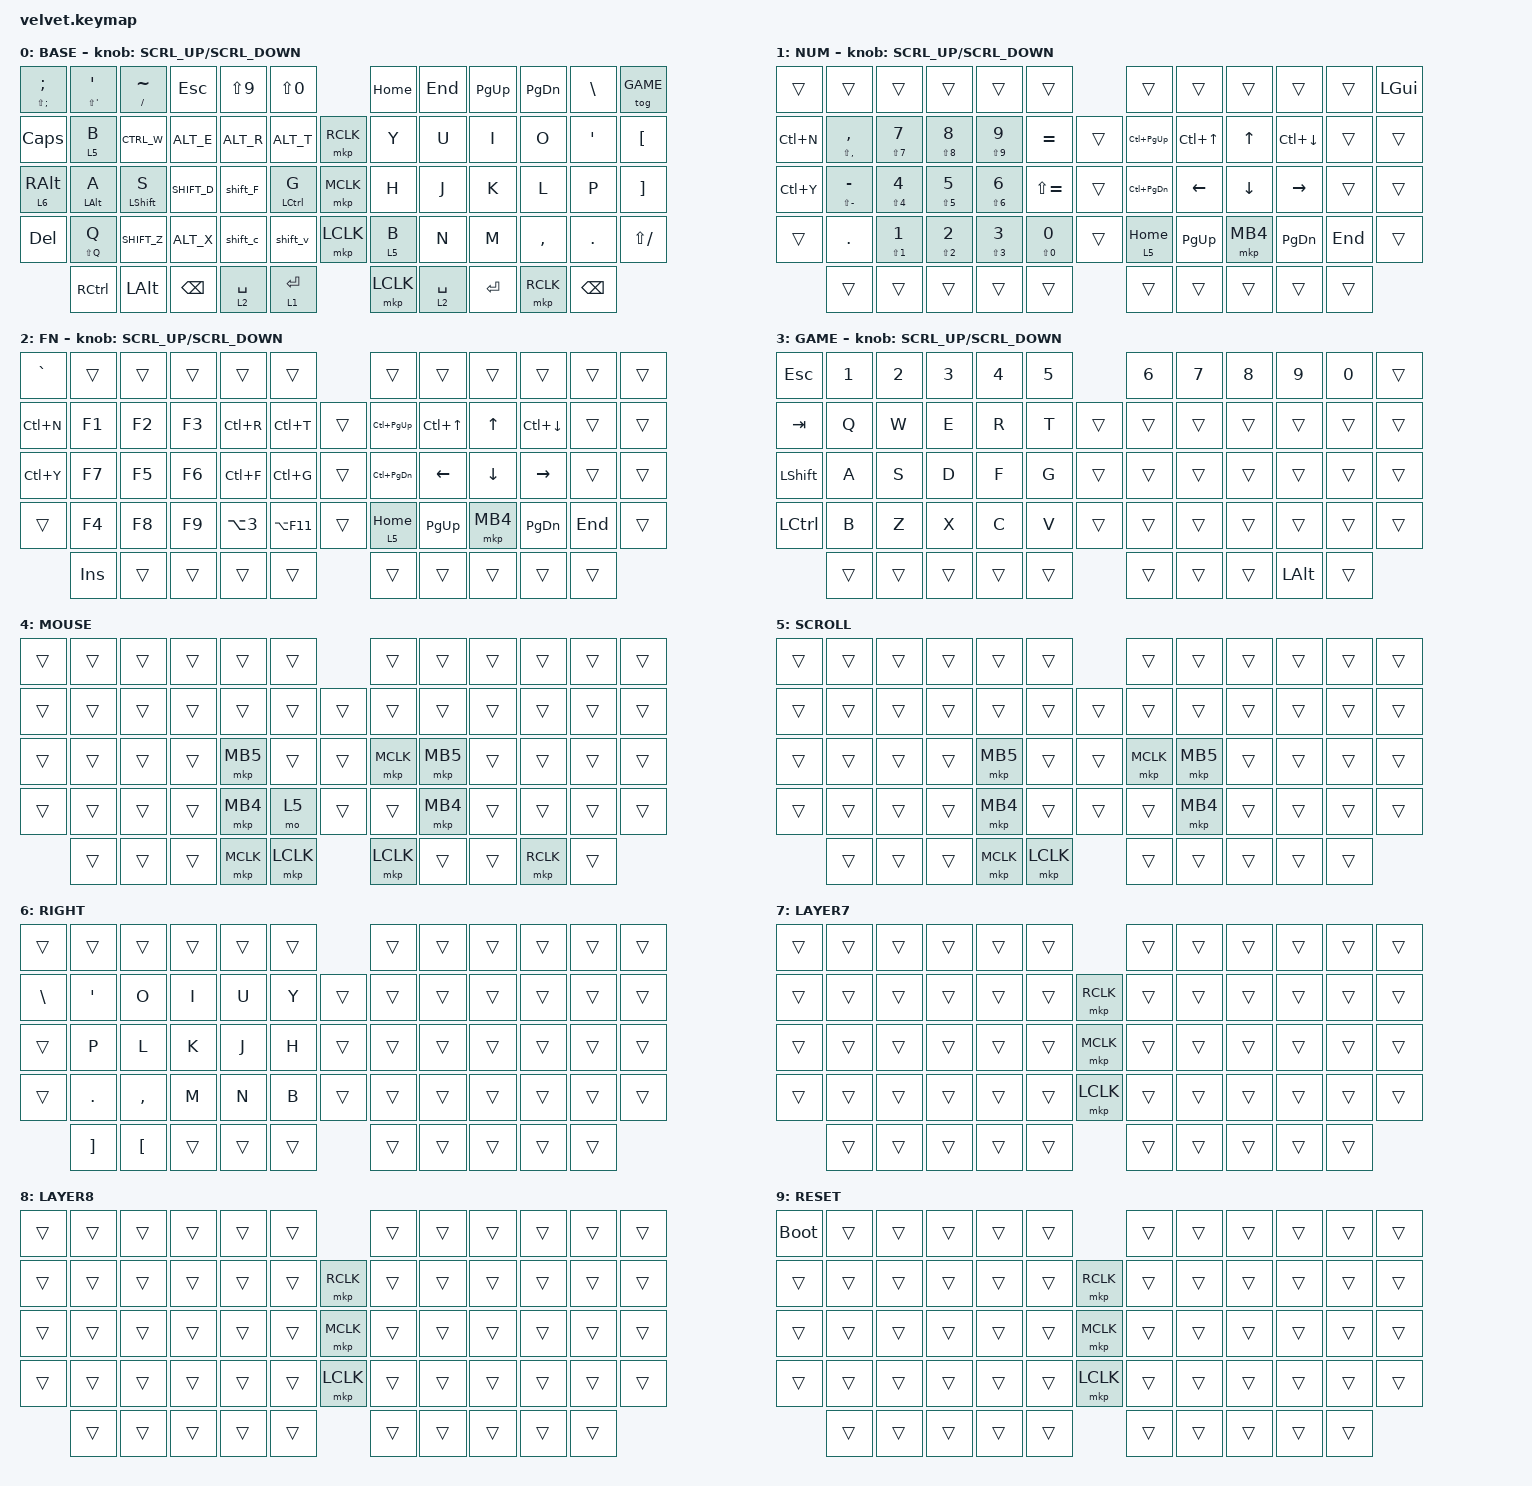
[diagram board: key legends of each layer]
/*
 * Elash Velvet keymap adapted from Sofle PLUS2 LAST_1002.vil
 * Source mapping: 6 keys per half in the four main rows; source encoder directions ignored.
 * The three central trackball click keys retain Velvet's default right/middle/left-click behavior.
 *
 * Known Vial-only features that need separate reimplementation are documented in KEYMAP_MIGRATION_NOTES.md.
 */

#define BASE 0
#define NUM 1
#define FN 2
#define GAME 3
#define MOUSE 4
#define SCROLL 5
#define RIT 6
#define ZMK_POINTING_DEFAULT_MOVE_VAL 1200
#define ZMK_POINTING_DEFAULT_SCRL_VAL 35

#include <input/processors.dtsi>
#include <zephyr/dt-bindings/input/input-event-codes.h>
#include <behaviors.dtsi>
#include <dt-bindings/zmk/keys.h>
#include <dt-bindings/zmk/pointing.h>

/ {
    zip_scroll_scaler: zip_scroll_scaler {
        compatible = "zmk,input-processor-scaler";
        #input-processor-cells = <2>;
        type = <INPUT_EV_REL>;
        codes = <INPUT_REL_WHEEL INPUT_REL_HWHEEL>;
        track-remainders;
    };
};

&mmv_input_listener { input-processors = <&zip_xy_scaler 2 1>; };

&msc_input_listener { input-processors = <&zip_scroll_scaler 2 1>; };

&msc {
    acceleration-exponent = <0>;
    time-to-max-speed-ms = <0>;
    delay-ms = <0>;
};

&mmv {
    time-to-max-speed-ms = <400>;
    acceleration-exponent = <1>;
};

&mt {
    tapping-term-ms = <180>;
    flavor = "tap-preferred";
};

&sk {
    release-after-ms = <2000>;
    quick-release;
};

/ {
    behaviors {
        td_q: td_q {
            compatible = "zmk,behavior-tap-dance";
            label = "TD_Q";
            #binding-cells = <0>;
            tapping-term-ms = <250>;
            bindings = <&kp Q>, <&kp LS(Q)>;
        };

        td_t_mouse: td_t_mouse {
            compatible = "zmk,behavior-tap-dance";
            label = "TD_T_MOUSE";
            #binding-cells = <0>;
            tapping-term-ms = <200>;
            bindings = <&kp T>, <&mkp MCLK>;
        };

        td_semi: td_semi {
            compatible = "zmk,behavior-tap-dance";
            label = "TD_SEMI";
            #binding-cells = <0>;
            tapping-term-ms = <200>;
            bindings = <&kp SEMI>, <&kp LS(SEMI)>;
        };

        aholdtap: aholdtap {
            compatible = "zmk,behavior-hold-tap";
            label = "AHOLDTAP";
            #binding-cells = <2>;
            bindings = <&kp>, <&kp>;

            tapping-term-ms = <230>;
            quick-tap-ms = <180>;
            require-prior-idle-ms = <120>;
            flavor = "tap-preferred";
        };

        holdtap: holdtap {
            compatible = "zmk,behavior-hold-tap";
            label = "HOLDTAP";
            bindings = <&kp>, <&kp>;

            #binding-cells = <2>;
            tapping-term-ms = <170>;
            quick-tap-ms = <150>;
        };

        shift_c: shift_c {
            compatible = "zmk,behavior-mod-morph";
            label = "SHIFT_C";
            bindings = <&kp C>, <&kp LC(LS(C))>;

            #binding-cells = <0>;
            mods = <(MOD_LSFT)>;
        };

        shift_v: shift_v {
            compatible = "zmk,behavior-mod-morph";
            label = "SHIFT_V";
            bindings = <&kp V>, <&kp LS(LC(V))>;

            #binding-cells = <0>;
            mods = <(MOD_LSFT)>;
        };

        shift_F: shift_F {
            compatible = "zmk,behavior-mod-morph";
            label = "SHIFT_F";
            bindings = <&kp F>, <&kp LS(LC(F))>;

            #binding-cells = <0>;
            mods = <(MOD_LSFT)>;
        };

        ALT_E: ALT_E {
            compatible = "zmk,behavior-mod-morph";
            label = "ALT_E";
            bindings = <&kp E>, <&kp LA(LC(END))>;

            #binding-cells = <0>;
            mods = <(MOD_LALT)>;
        };

        ALT_R: ALT_R {
            compatible = "zmk,behavior-mod-morph";
            label = "ALT_R";
            bindings = <&kp R>, <&kp LS(LA(G))>;

            #binding-cells = <0>;
            mods = <(MOD_LALT)>;
        };

        ALT_T: ALT_T {
            compatible = "zmk,behavior-mod-morph";
            label = "ALT_T";
            bindings = <&kp T>, <&kp LC(LS(F10))>;

            #binding-cells = <0>;
            mods = <(MOD_LALT)>;
        };

        SHIFT_D: SHIFT_D {
            compatible = "zmk,behavior-mod-morph";
            label = "SHIFT_D";
            bindings = <&kp D>, <&kp LC(LS(A))>;

            #binding-cells = <0>;
            mods = <(MOD_LSFT)>;
        };

        CTRL_W: CTRL_W {
            compatible = "zmk,behavior-mod-morph";
            label = "CTRL_W";
            bindings = <&kp W>, <&kp LS(LC(S))>;

            #binding-cells = <0>;
            mods = <(MOD_LCTL)>;
        };

        SHIFT_Z: SHIFT_Z {
            compatible = "zmk,behavior-mod-morph";
            label = "SHIFT_Z";
            bindings = <&kp Z>, <&kp LS(LC(F10))>;

            #binding-cells = <0>;
            mods = <(MOD_LSFT)>;
        };

        ALT_X: ALT_X {
            compatible = "zmk,behavior-mod-morph";
            label = "ALT_X";
            bindings = <&kp X>, <&kp LS(LA(LC(N)))>;

            #binding-cells = <0>;
            mods = <(MOD_LALT)>;
        };
        
        rot_msc: sensor_rotate_msc {
            compatible = "zmk,behavior-sensor-rotate-var";
            #sensor-binding-cells = <2>;
            bindings = <&msc>, <&msc>;
            tap-ms = <40>;
        };
    };
    combos {
        compatible = "zmk,combos";

        combo_ctrl_x_sd {
            bindings = <&kp LC(X)>;
            key-positions = <27 28>;
            // layers = <BASE>;
            timeout-ms = <90>;
        };

        combo_ctrl_c_df {
            bindings = <&kp LC(C)>;
            key-positions = <28 29>;
            // layers = <BASE>;
            timeout-ms = <90>;
        };

        combo_ctrl_v_fg {
            bindings = <&kp LC(V)>;
            key-positions = <29 30>;
            // layers = <BASE>;
            timeout-ms = <90>;
        };

        combo_ctrl_z_sf {
            bindings = <&kp LC(Z)>;
            key-positions = <27 29>;
            // layers = <BASE>;
            timeout-ms = <90>;
        };

        combo_esc_tr {
            bindings = <&kp ESC>;
            key-positions = <16 17>;
            // layers = <BASE>;
            timeout-ms = <90>;
        };

        combo_tab_re {
            bindings = <&kp TAB>;
            key-positions = <15 16>;
            // layers = <BASE>;
            timeout-ms = <90>;
        };

        combo_shift_w_we {
            bindings = <&kp LS(W)>;
            key-positions = <14 15>;
            // layers = <BASE>;
            timeout-ms = <90>;
        };

        combo_shift_q_qs {
            bindings = <&kp LS(Q)>;
            key-positions = <27 39>;
            // layers = <BASE>;
            timeout-ms = <90>;
        };

        combo_bspc_xc {
            bindings = <&kp BSPC>;
            key-positions = <41 42>;
            // layers = <BASE>;
            timeout-ms = <90>;
        };
    };

    keymap {
        compatible = "zmk,keymap";

        BASE {
            label = "BASE";
            bindings = <
&aholdtap LS(SEMI) SEMI  &aholdtap LS(APOS) APOS  &holdtap FSLH TILDE  &kp ESC   &kp LS(N9)   &kp LS(N0)              &kp HOME   &kp END      &kp PAGE_UP  &kp PAGE_DOWN  &kp BSLH  &tog GAME
&kp CAPS                  &lt 5 B                 &CTRL_W              &ALT_E    &ALT_R       &ALT_T       &mkp RCLK  &kp Y      &kp U        &kp I        &kp O          &kp SQT   &kp LBKT
&lt 6 RIGHT_ALT          &aholdtap LEFT_ALT A     &mt LSHFT S          &SHIFT_D  &shift_F     &mt LCTRL G  &mkp MCLK  &kp H      &kp J        &kp K        &kp L          &kp P     &kp RBKT
&kp DEL                  &aholdtap LS(Q) Q        &SHIFT_Z             &ALT_X    &shift_c     &shift_v     &mkp LCLK  &lt 5 B    &kp N        &kp M        &kp COMMA      &kp DOT   &kp LS(FSLH)
                         &kp RCTRL                &kp LALT             &kp BSPC  &lt 2 SPACE  &lt 1 ENTER             &mkp LCLK  &lt 2 SPACE  &kp ENTER    &mkp RCLK      &kp BSPC
            >;
/* Rotary encoder: clockwise = scroll up, counter-clockwise = scroll down. */
            sensor-bindings = <&rot_msc SCRL_UP SCRL_DOWN>;
        };

        NUM {
            label = "NUM";
            bindings = <
&trans     &trans     &trans                     &trans                     &trans                     &trans                             &trans             &trans            &trans          &trans              &trans   &kp LGUI
&kp LC(N)  &aholdtap LS(COMMA) COMMA  &aholdtap LS(N7) N7        &aholdtap LS(N8) N8        &aholdtap LS(N9) N9        &kp EQUAL                  &trans  &kp LC(PAGE_UP)    &kp LC(UP_ARROW)  &kp UP_ARROW    &kp LC(DOWN_ARROW)  &trans   &trans
&kp LC(Y)  &aholdtap LS(MINUS) MINUS  &aholdtap LS(N4) NUMBER_4  &aholdtap LS(N5) N5        &aholdtap LS(N6) NUMBER_6  &kp LS(EQUAL)              &trans  &kp LC(PAGE_DOWN)  &kp LEFT_ARROW    &kp DOWN_ARROW  &kp RIGHT_ARROW     &trans   &trans
&trans     &kp DOT    &aholdtap LS(N1) NUMBER_1  &aholdtap LS(N2) NUMBER_2  &aholdtap LS(N3) NUMBER_3  &aholdtap LS(N0) NUMBER_0  &trans  &lt 5 HOME         &kp PAGE_UP       &mkp MB4        &kp PAGE_DOWN       &kp END  &trans
           &trans     &trans                     &trans                     &trans                     &trans                             &trans             &trans            &trans          &trans              &trans
            >;

            sensor-bindings = <&rot_msc SCRL_UP SCRL_DOWN>;
        };

        FN {
            label = "FN";
            bindings = <
&kp GRAVE  &trans      &trans  &trans  &trans      &trans               &trans             &trans       &trans    &trans         &trans   &trans
&kp LC(N)  &kp F1      &kp F2  &kp F3  &kp LC(R)   &kp LC(T)    &trans  &kp LC(PAGE_UP)    &kp LC(UP)   &kp UP    &kp LC(DOWN)   &trans   &trans
&kp LC(Y)  &kp F7      &kp F5  &kp F6  &kp LC(F)   &kp LC(G)    &trans  &kp LC(PAGE_DOWN)  &kp LEFT     &kp DOWN  &kp RIGHT      &trans   &trans
&trans     &kp F4      &kp F8  &kp F9  &kp LA(N3)  &kp LA(F11)  &trans  &lt 5 HOME         &kp PAGE_UP  &mkp MB4  &kp PAGE_DOWN  &kp END  &trans
           &kp INSERT  &trans  &trans  &trans      &trans               &trans             &trans       &trans    &trans         &trans
            >;

            sensor-bindings = <&rot_msc SCRL_UP SCRL_DOWN>;
        };

        GAME {
            label = "GAME";
            bindings = <
&kp ESC    &kp N1  &kp N2  &kp N3  &kp N4  &kp N5          &kp N6  &kp N7  &kp N8  &kp N9    &kp N0  &trans
&kp TAB    &kp Q   &kp W   &kp E   &kp R   &kp T   &trans  &trans  &trans  &trans  &trans    &trans  &trans
&kp LSHFT  &kp A   &kp S   &kp D   &kp F   &kp G   &trans  &trans  &trans  &trans  &trans    &trans  &trans
&kp LCTRL  &kp B   &kp Z   &kp X   &kp C   &kp V   &trans  &trans  &trans  &trans  &trans    &trans  &trans
           &trans  &trans  &trans  &trans  &trans          &trans  &trans  &trans  &kp LALT  &trans
            >;

            sensor-bindings = <&rot_msc SCRL_UP SCRL_DOWN>;
        };

        MOUSE {
            label = "MOUSE";
            bindings = <
&trans  &trans  &trans  &trans  &trans     &trans                &trans     &trans    &trans  &trans     &trans  &trans
&trans  &trans  &trans  &trans  &trans     &trans     &trans     &trans     &trans    &trans  &trans     &trans  &trans
&trans  &trans  &trans  &trans  &mkp MB5   &trans     &trans     &mkp MCLK  &mkp MB5  &trans  &trans     &trans  &trans
&trans  &trans  &trans  &trans  &mkp MB4   &mo 5      &trans     &trans     &mkp MB4  &trans  &trans     &trans  &trans
        &trans  &trans  &trans  &mkp MCLK  &mkp LCLK             &mkp LCLK  &trans    &trans  &mkp RCLK  &trans
            >;
        };

        SCROLL {
            label = "SCROLL";
            bindings = <
&trans  &trans  &trans  &trans  &trans     &trans                &trans     &trans    &trans  &trans  &trans  &trans
&trans  &trans  &trans  &trans  &trans     &trans     &trans     &trans     &trans    &trans  &trans  &trans  &trans
&trans  &trans  &trans  &trans  &mkp MB5   &trans   &trans  &mkp MCLK  &mkp MB5  &trans  &trans  &trans  &trans
&trans  &trans  &trans  &trans  &mkp MB4   &trans     &trans     &trans     &mkp MB4  &trans  &trans  &trans  &trans
        &trans  &trans  &trans  &mkp MCLK  &mkp LCLK             &trans     &trans    &trans  &trans  &trans
            >;
        };

        RIT {
            label = "RIGHT";
            bindings = <
&trans    &trans    &trans     &trans  &trans  &trans          &trans  &trans  &trans  &trans  &trans  &trans
&kp BSLH  &kp SQT   &kp O      &kp I   &kp U   &kp Y   &trans  &trans  &trans  &trans  &trans  &trans  &trans
&trans    &kp P     &kp L      &kp K   &kp J   &kp H   &trans  &trans  &trans  &trans  &trans  &trans  &trans
&trans    &kp DOT   &kp COMMA  &kp M   &kp N   &kp B   &trans  &trans  &trans  &trans  &trans  &trans  &trans
          &kp RBKT  &kp LBKT   &trans  &trans  &trans          &trans  &trans  &trans  &trans  &trans
            >;
        };

        LAYER7 {
            label = "LAYER7";
            bindings = <
&trans  &trans  &trans  &trans  &trans  &trans             &trans  &trans  &trans  &trans  &trans  &trans
&trans  &trans  &trans  &trans  &trans  &trans  &mkp RCLK  &trans  &trans  &trans  &trans  &trans  &trans
&trans  &trans  &trans  &trans  &trans  &trans  &mkp MCLK  &trans  &trans  &trans  &trans  &trans  &trans
&trans  &trans  &trans  &trans  &trans  &trans  &mkp LCLK  &trans  &trans  &trans  &trans  &trans  &trans
        &trans  &trans  &trans  &trans  &trans             &trans  &trans  &trans  &trans  &trans
            >;
        };

        LAYER8 {
            label = "LAYER8";
            bindings = <
&trans  &trans  &trans  &trans  &trans  &trans             &trans  &trans  &trans  &trans  &trans  &trans
&trans  &trans  &trans  &trans  &trans  &trans  &mkp RCLK  &trans  &trans  &trans  &trans  &trans  &trans
&trans  &trans  &trans  &trans  &trans  &trans  &mkp MCLK  &trans  &trans  &trans  &trans  &trans  &trans
&trans  &trans  &trans  &trans  &trans  &trans  &mkp LCLK  &trans  &trans  &trans  &trans  &trans  &trans
        &trans  &trans  &trans  &trans  &trans             &trans  &trans  &trans  &trans  &trans
            >;
        };

        RESET {
            label = "RESET";
            bindings = <
&bootloader  &trans  &trans  &trans  &trans  &trans             &trans  &trans  &trans  &trans  &trans  &trans
&trans       &trans  &trans  &trans  &trans  &trans  &mkp RCLK  &trans  &trans  &trans  &trans  &trans  &trans
&trans       &trans  &trans  &trans  &trans  &trans  &mkp MCLK  &trans  &trans  &trans  &trans  &trans  &trans
&trans       &trans  &trans  &trans  &trans  &trans  &mkp LCLK  &trans  &trans  &trans  &trans  &trans  &trans
             &trans  &trans  &trans  &trans  &trans             &trans  &trans  &trans  &trans  &trans
            >;
        };
    };
};
